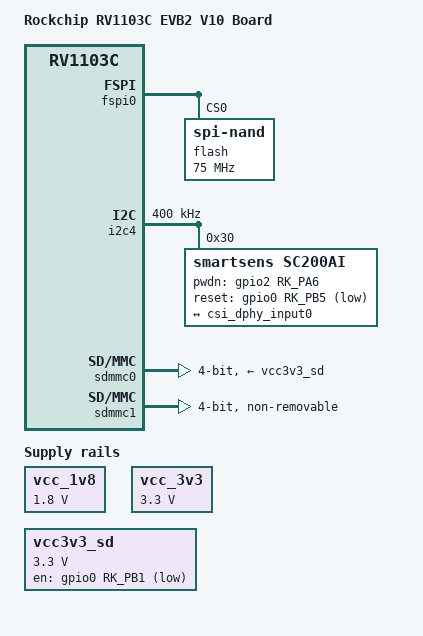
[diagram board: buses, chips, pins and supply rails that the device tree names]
// SPDX-License-Identifier: (GPL-2.0+ OR MIT)
/*
 * Copyright (c) 2024 Rockchip Electronics Co., Ltd.
 */

/dts-v1/;

#include "rv1103c.dtsi"
#include "rv1103c-evb.dtsi"
#include "rv1103c-thunder-boot-cam.dtsi"
#include "rv1103c-thunder-boot-spi-nand.dtsi"

/ {
	model = "Rockchip RV1103C EVB2 V10 Board";
	compatible = "rockchip,rv1103c-evb2-v10-spi-nand", "rockchip,rv1103c";

	chosen {
		bootargs = "loglevel=0 earlycon=uart8250,mmio32,0x20540000 console=ttyFIQ0 root=/dev/rd0 rootfstype=erofs rootflags=dax snd_soc_core.prealloc_buffer_size_kbytes=16 coherent_pool=32K";
	};

	vcc_1v8: vcc-1v8 {
		compatible = "regulator-fixed";
		regulator-name = "vcc_1v8";
		regulator-always-on;
		regulator-boot-on;
		regulator-min-microvolt = <1800000>;
		regulator-max-microvolt = <1800000>;
	};

	vcc_3v3: vcc-3v3 {
		compatible = "regulator-fixed";
		regulator-name = "vcc_3v3";
		regulator-always-on;
		regulator-boot-on;
		regulator-min-microvolt = <3300000>;
		regulator-max-microvolt = <3300000>;
	};

	vcc3v3_sd: vcc3v3-sd {
		compatible = "regulator-fixed";
		gpio = <&gpio0 RK_PB1 GPIO_ACTIVE_LOW>;
		regulator-name = "vcc3v3_sd";
		regulator-min-microvolt = <3300000>;
		regulator-max-microvolt = <3300000>;
		pinctrl-names = "default";
		pinctrl-0 = <&sdmmc_pwren>;
	};
};

&fiq_debugger {
	rockchip,baudrate = <1500000>;
};

&fspi0 {
	status = "okay";

	flash@0 {
		compatible = "spi-nand";
		reg = <0>;
		spi-max-frequency = <75000000>;
		spi-rx-bus-width = <4>;
		spi-tx-bus-width = <1>;
	};
};

&i2c4 {
	clock-frequency = <400000>;
	pinctrl-names = "default";
	pinctrl-0 = <&i2c4m1_xfer_pins>;
	rockchip,amp-shared;
	status = "okay";

	sc200ai: sc200ai@30 {
		compatible = "smartsens,sc200ai";
		reg = <0x30>;
		clocks = <&cru CLK_MIPI0_OUT2IO>;
		clock-names = "xvclk";
		pwdn-gpios = <&gpio2 RK_PA6 GPIO_ACTIVE_HIGH>;
		reset-gpios = <&gpio0 RK_PB5 GPIO_ACTIVE_LOW>;
		pinctrl-names = "default";
		pinctrl-0 = <&cam_clk0_pins>;
		rockchip,camera-module-index = <0>;
		rockchip,camera-module-facing = "back";
		rockchip,camera-module-name = "CRK2F3537-V2";
		rockchip,camera-module-lens-name = "33IRC-F16";

		port {
			cam0_out: endpoint {
				remote-endpoint = <&csi_dphy_input0>;
				data-lanes = <1 2>;
			};
		};
	};
};

&pinctrl {
	sdmmc {
		/omit-if-no-ref/
		sdmmc_pwren: sdmmc-pwren {
			rockchip,pins = <0 RK_PB1 RK_FUNC_GPIO &pcfg_pull_none>;
		};
	};
};

&rkisp_thunderboot {
	/* reg's offset MUST match with RTOS */
	/*
	 * vicap, capture raw10, ceil(w*10/8/256)*256*h *4(buf num)
	 * e.g. 1920x1080: 0xa8c000
	 */
	reg = <0x00860000 0xa8c000>;
};

&ramdisk_r {
	reg = <0x012ec000 (20 * 0x00100000)>;
};

&ramdisk_c {
	reg = <0x26ec000 (10 * 0x00100000)>;
};

&sdmmc0 {
	bus-width = <4>;
	cap-mmc-highspeed;
	cap-sd-highspeed;
	disable-wp;
	no-sdio;
	no-mmc;
	pinctrl-names = "default";
	pinctrl-0 = <&sdmmc0_clk_pins &sdmmc0_cmd_pins &sdmmc0_det_pins &sdmmc0_bus4_pins>;
	vmmc-supply = <&vcc3v3_sd>;
	status = "okay";
};

&sdmmc1 {
	bus-width = <4>;
	cap-sd-highspeed;
	cap-sdio-irq;
	keep-power-in-suspend;
	non-removable;
	no-sd;
	no-mmc;
	status = "okay";
};
